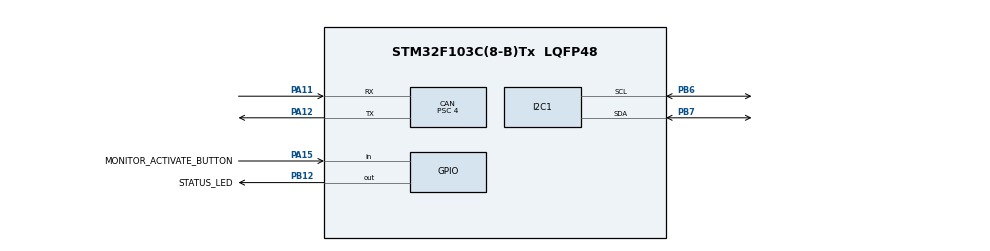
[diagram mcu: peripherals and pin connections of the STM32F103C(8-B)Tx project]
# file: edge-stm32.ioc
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CAN.BS1=CAN_BS1_2TQ
CAN.CalculateBaudRate=500000
CAN.CalculateTimeBit=2000
CAN.CalculateTimeQuantum=500.0
CAN.Prescaler=4
FREERTOS.Tasks01=defaultTask,0,128,StartDefaultTask,Default,NULL,Dynamic,NULL,NULL
I2C1.I2C_Mode=I2C_Fast
Mcu.Family=STM32F1
Mcu.Name=STM32F103C(8-B)Tx
Mcu.Package=LQFP48
NVIC.I2C1_ER_IRQn=true\:5\:0\:false\:false\:true\:true\:true\:true\:true
NVIC.I2C1_EV_IRQn=true\:5\:0\:false\:false\:true\:true\:true\:true\:true
NVIC.PriorityGroup=NVIC_PRIORITYGROUP_4
NVIC.TIM1_UP_IRQn=true\:15\:0\:false\:false\:true\:false\:false\:true\:true
NVIC.TimeBase=TIM1_UP_IRQn
NVIC.TimeBaseIP=TIM1
PA11.Mode=CAN_Activate
PA11.Signal=CAN_RX
PA12.Mode=CAN_Activate
PA12.Signal=CAN_TX
PA13.Mode=Serial_Wire
PA13.Signal=SYS_JTMS-SWDIO
PA14.Mode=Serial_Wire
PA14.Signal=SYS_JTCK-SWCLK
PA15.GPIO_Label=MONITOR_ACTIVATE_BUTTON
PA15.GPIO_PuPd=GPIO_PULLUP
PA15.Signal=GPIO_Input
PB12.GPIO_Label=STATUS_LED
PB12.Signal=GPIO_Output
PB6.Mode=I2C
PB6.Signal=I2C1_SCL
PB7.Mode=I2C
PB7.Signal=I2C1_SDA
ProjectManager.HeapSize=0x200
ProjectManager.StackSize=0x400
ProjectManager.TargetToolchain=CMake
RCC.APB1Freq_Value=8000000
RCC.APB2Freq_Value=8000000
VP_FREERTOS_VS_CMSIS_V1.Mode=CMSIS_V1
VP_SYS_VS_tim1.Mode=TIM1
board=custom

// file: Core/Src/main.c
/* USER CODE BEGIN Header */
/**
  ******************************************************************************
  * @file           : main.c
  * @brief          : Main program body
  ******************************************************************************
  */
/* USER CODE END Header */
#include "main.h"
#include "cmsis_os.h"

/* USER CODE BEGIN Includes */
#include "i2c_platform.h"
#include "can_platform.h"
#include "projdefs.h"
#include "system.h"
#include "edge_logger.h"
#include "FreeRTOS.h"
#include "task.h"
#include "esmu_protocol.h"
/* USER CODE END Includes */

CAN_HandleTypeDef hcan;

I2C_HandleTypeDef hi2c1;

/* USER CODE BEGIN PV */
TaskHandle_t defaultTaskHandle = NULL;
/* USER CODE END PV */

void SystemClock_Config(void);
static void MX_GPIO_Init(void);
static void MX_CAN_Init(void);
static void MX_I2C1_Init(void);
void StartDefaultTask(void * argument);

int main(void)
{

  /* MCU Configuration--------------------------------------------------------*/

  /* Reset of all peripherals, Initializes the Flash interface and the Systick. */
  HAL_Init();

  /* Configure the system clock */
  SystemClock_Config();

  /* Initialize all configured peripherals */
  MX_GPIO_Init();
  MX_CAN_Init();
  MX_I2C1_Init();
  /* USER CODE BEGIN 2 */
  platform_i2c_init();
  platform_can_init();

  // Create the DefaultTask (Startup Task) using Native FreeRTOS
  xTaskCreate(StartDefaultTask, "DefaultTask", 256, NULL, tskIDLE_PRIORITY + 1, &defaultTaskHandle);

  /* Start scheduler */
  vTaskStartScheduler();
  /* USER CODE END 2 */

  /* Create the thread(s) */
  /* definition and creation of defaultTask */

  /* Start scheduler */

  /* We should never get here as control is now taken by the scheduler */

  /* Infinite loop */
  while (1)
  {

  }
}

void SystemClock_Config(void)
{
  RCC_OscInitTypeDef RCC_OscInitStruct = {0};
  RCC_ClkInitTypeDef RCC_ClkInitStruct = {0};

  /** Initializes the RCC Oscillators according to the specified parameters
  * in the RCC_OscInitTypeDef structure.
  */
  RCC_OscInitStruct.OscillatorType = RCC_OSCILLATORTYPE_HSI;
  RCC_OscInitStruct.HSIState = RCC_HSI_ON;
  RCC_OscInitStruct.HSICalibrationValue = RCC_HSICALIBRATION_DEFAULT;
  RCC_OscInitStruct.PLL.PLLState = RCC_PLL_NONE;
  if (HAL_RCC_OscConfig(&RCC_OscInitStruct) != HAL_OK)
  {
    Error_Handler();
  }

  /** Initializes the CPU, AHB and APB buses clocks
  */
  RCC_ClkInitStruct.ClockType = RCC_CLOCKTYPE_HCLK|RCC_CLOCKTYPE_SYSCLK
                              |RCC_CLOCKTYPE_PCLK1|RCC_CLOCKTYPE_PCLK2;
  RCC_ClkInitStruct.SYSCLKSource = RCC_SYSCLKSOURCE_HSI;
  RCC_ClkInitStruct.AHBCLKDivider = RCC_SYSCLK_DIV1;
  RCC_ClkInitStruct.APB1CLKDivider = RCC_HCLK_DIV1;
  RCC_ClkInitStruct.APB2CLKDivider = RCC_HCLK_DIV1;

  if (HAL_RCC_ClockConfig(&RCC_ClkInitStruct, FLASH_LATENCY_0) != HAL_OK)
  {
    Error_Handler();
  }
}

static void MX_CAN_Init(void)
{

  hcan.Instance = CAN1;
  hcan.Init.Prescaler = 4;
  hcan.Init.Mode = CAN_MODE_NORMAL;
  hcan.Init.SyncJumpWidth = CAN_SJW_1TQ;
  hcan.Init.TimeSeg1 = CAN_BS1_2TQ;
  hcan.Init.TimeSeg2 = CAN_BS2_1TQ;
  hcan.Init.TimeTriggeredMode = DISABLE;
  hcan.Init.AutoBusOff = DISABLE;
  hcan.Init.AutoWakeUp = DISABLE;
  hcan.Init.AutoRetransmission = DISABLE;
  hcan.Init.ReceiveFifoLocked = DISABLE;
  hcan.Init.TransmitFifoPriority = DISABLE;
  if (HAL_CAN_Init(&hcan) != HAL_OK)
  {
    Error_Handler();
  }

}

static void MX_I2C1_Init(void)
{

  hi2c1.Instance = I2C1;
  hi2c1.Init.ClockSpeed = 400000;
  hi2c1.Init.DutyCycle = I2C_DUTYCYCLE_2;
  hi2c1.Init.OwnAddress1 = 0;
  hi2c1.Init.AddressingMode = I2C_ADDRESSINGMODE_7BIT;
  hi2c1.Init.DualAddressMode = I2C_DUALADDRESS_DISABLE;
  hi2c1.Init.OwnAddress2 = 0;
  hi2c1.Init.GeneralCallMode = I2C_GENERALCALL_DISABLE;
  hi2c1.Init.NoStretchMode = I2C_NOSTRETCH_DISABLE;
  if (HAL_I2C_Init(&hi2c1) != HAL_OK)
  {
    Error_Handler();
  }

}

static void MX_GPIO_Init(void)
{
  GPIO_InitTypeDef GPIO_InitStruct = {0};

  /* GPIO Ports Clock Enable */
  __HAL_RCC_GPIOB_CLK_ENABLE();
  __HAL_RCC_GPIOA_CLK_ENABLE();

  /*Configure GPIO pin Output Level */
  HAL_GPIO_WritePin(STATUS_LED_GPIO_Port, STATUS_LED_Pin, GPIO_PIN_RESET);

  /*Configure GPIO pin : STATUS_LED_Pin */
  GPIO_InitStruct.Pin = STATUS_LED_Pin;
  GPIO_InitStruct.Mode = GPIO_MODE_OUTPUT_PP;
  GPIO_InitStruct.Pull = GPIO_NOPULL;
  GPIO_InitStruct.Speed = GPIO_SPEED_FREQ_LOW;
  HAL_GPIO_Init(STATUS_LED_GPIO_Port, &GPIO_InitStruct);

  /*Configure GPIO pin : MONITOR_ACTIVATE_BUTTON_Pin */
  GPIO_InitStruct.Pin = MONITOR_ACTIVATE_BUTTON_Pin;
  GPIO_InitStruct.Mode = GPIO_MODE_INPUT;
  GPIO_InitStruct.Pull = GPIO_PULLUP;
  HAL_GPIO_Init(MONITOR_ACTIVATE_BUTTON_GPIO_Port, &GPIO_InitStruct);

}

void StartDefaultTask(void * argument)
{
  /* USER CODE BEGIN 5 */

  // 1. Initialize ESMU System Core (Registry, Logger, Visual Heartbeat)
  if (!system_core_init()) {
      Error_Handler();
  }

  // 3. This task is no longer needed
  for(;;)
  {
    vTaskDelay(pdMS_TO_TICKS(1000));
  }
  /* USER CODE END 5 */
}

void HAL_TIM_PeriodElapsedCallback(TIM_HandleTypeDef *htim)
{
  if (htim->Instance == TIM1)
  {
    HAL_IncTick();
  }
}

void Error_Handler(void)
{
  __disable_irq();
  while (1)
  {
  }
}
